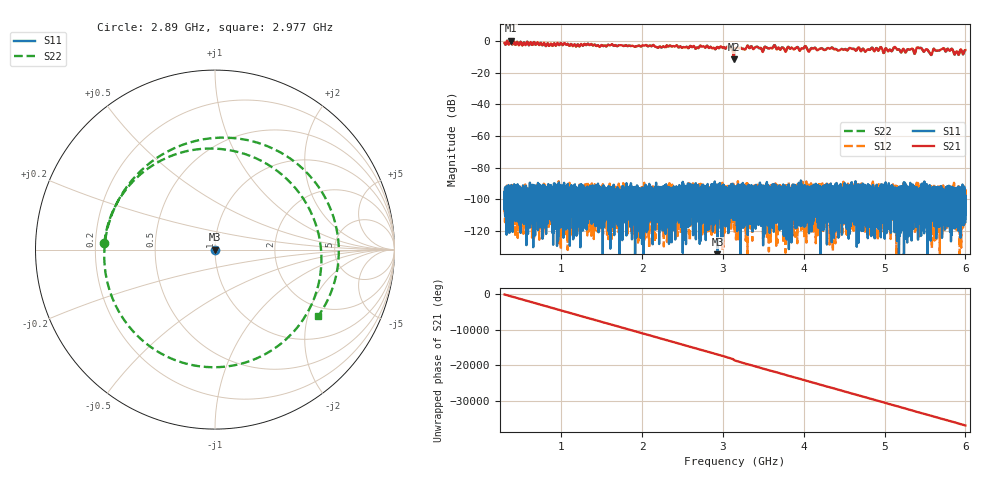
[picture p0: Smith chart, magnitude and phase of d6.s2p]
!Agilent Technologies,N5230C,SG49000117,A.08.50.07
!Agilent N5230C: A.08.50.07
!Date: Sunday, March 17, 2024 06:36:45
!Correction: S11(Off)
!S21(Off)
!S12(Off)
!S22(Off)
!S2P File: Measurements: S11, S21, S12, S22:
# Hz S  RI  R 50
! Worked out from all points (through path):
!   20001 points, 300 MHz to 6 GHz, reference 50 ohm
!   highest |S21| = 0.43 dB at 373.2 MHz (marker M1); lowest = -11.5 dB at 3.133 GHz (marker M2)
!   lowest |S11| = -157.7 dB at 2.933 GHz (marker M3), VSWR 1.00, Z = 50 + j6.17e-07 ohm
!   |S11| at or under -10 dB: start of sweep to end of sweep
!   |S22| runs from -11.5 to 0.5 dB; largest |S21 - S12| = 1.1
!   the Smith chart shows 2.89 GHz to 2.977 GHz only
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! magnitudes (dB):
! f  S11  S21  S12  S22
! 300 MHz  -98.5  -1.1  -99.3  -1.0
! 373.2 MHz  -102.3  0.4  -101.4  0.5
! 1.25 GHz  -101.9  -1.9  -97.8  -1.9
! 2.2 GHz  -102.4  -4.1  -99.1  -4.1
! 2.933 GHz  -157.7  -3.7  -106.0  -3.7
! 3.074 GHz  -99.8  -3.8  -102.9  -3.7
! 3.133 GHz  -95.5  -11.5  -96.4  -11.5
! 3.15 GHz  -101.3  -4.4  -99.3  -4.3
! 3.173 GHz  -97.3  -4.3  -101.0  -4.3
! 3.325 GHz  -104.5  -4.3  -99.5  -4.2
! 3.48 GHz  -93.9  -5.1  -99.2  -5.1
! 3.629 GHz  -98.7  -3.0  -107.0  -2.9
! 3.769 GHz  -94.7  -6.2  -101.4  -6.1
! 4.1 GHz  -99.9  -4.4  -98.4  -4.3
! 5.05 GHz  -106.8  -6.2  -100.9  -6.2
! 5.13 GHz  -96.0  -3.7  -105.0  -3.7
! 5.364 GHz  -102.8  -7.1  -98.7  -7.1
! 5.424 GHz  -100.1  -4.3  -95.7  -4.3
! 5.567 GHz  -104.8  -8.1  -100.5  -8.1
! 5.715 GHz  -93.8  -4.8  -103.1  -4.9
! 5.89 GHz  -97.6  -6.4  -109.8  -6.5
! 6 GHz  -105.0  -5.6  -103.7  -5.6
